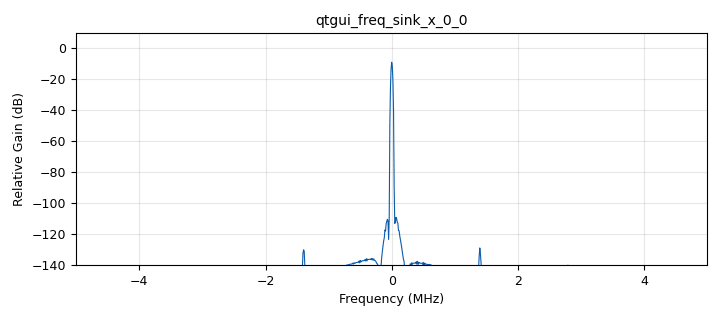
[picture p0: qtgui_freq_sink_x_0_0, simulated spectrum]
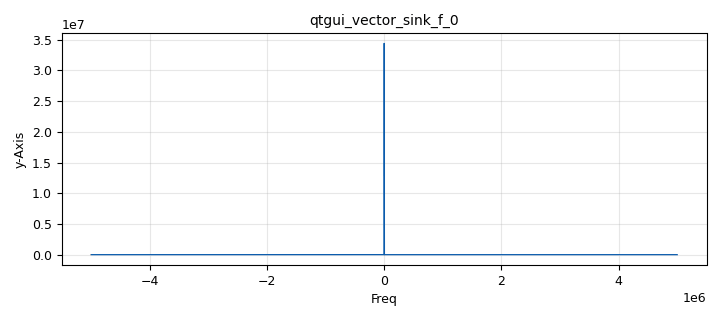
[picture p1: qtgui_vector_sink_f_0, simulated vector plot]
options:
  parameters:
    generate_options: qt_gui
    id: fmcw_sim
    output_language: python
    title: Not titled yet
  states: {}

blocks:
- name: alpha
  id: variable
  parameters:
    value: (max_freq-min_freq)/t_chirp
  states: {}
- name: c
  id: variable
  parameters:
    value: '300000000'
  states: {}
- name: delay_samples
  id: variable
  parameters:
    value: int(delay_time*samp_rate)
  states: {}
- name: delay_time
  id: variable
  parameters:
    value: 2*distance_m/c
  states: {}
- name: df
  id: variable
  parameters:
    value: samp_rate/k_bins
  states: {}
- name: distance_m
  id: variable
  parameters:
    value: '1000000'
  states: {}
- name: k_bins
  id: variable
  parameters:
    value: 2**14
  states: {}
- name: max_freq
  id: variable
  parameters:
    value: '200000'
  states: {}
- name: min_freq
  id: variable
  parameters:
    value: '10000'
  states: {}
- name: samp_rate
  id: variable
  parameters:
    value: '10000000'
  states: {}
- name: t_chirp
  id: variable
  parameters:
    value: '1'
  states: {}
- name: analog_sig_source_x_0
  id: analog_sig_source_x
  parameters:
    amp: '1'
    freq: 1/t_chirp
    offset: '0'
    phase: '0'
    samp_rate: samp_rate
    type: float
    waveform: analog.GR_SAW_WAVE
  states: {}
- name: analog_sig_source_x_1
  id: analog_sig_source_x
  parameters:
    amp: '1'
    freq: '10000'
    offset: '0'
    phase: '0'
    samp_rate: samp_rate
    type: complex
    waveform: analog.GR_COS_WAVE
  states: {state: disabled}
- name: blocks_add_const_vxx_0
  id: blocks_add_const_vxx
  parameters:
    const: min_freq
    type: float
  states: {}
- name: blocks_add_const_vxx_1
  id: blocks_add_const_vxx
  parameters:
    const: '-k_bins/2*df'
    type: float
  states: {}
- name: blocks_argmax_xx_1
  id: blocks_argmax_xx
  parameters:
    num_inputs: '1'
    type: float
    vlen: k_bins
  states: {}
- name: blocks_complex_to_mag_squared_0
  id: blocks_complex_to_mag_squared
  parameters:
    vlen: k_bins
  states: {}
- name: blocks_delay_0
  id: blocks_delay
  parameters:
    delay: delay_samples
    type: complex
  states: {}
- name: blocks_multiply_conjugate_cc_0
  id: blocks_multiply_conjugate_cc
  parameters: {}
  states: {}
- name: blocks_multiply_const_vxx_0
  id: blocks_multiply_const_vxx
  parameters:
    const: (max_freq-min_freq)
    type: float
  states: {}
- name: blocks_multiply_const_vxx_1
  id: blocks_multiply_const_vxx
  parameters:
    const: 1*df
    type: float
  states: {}
- name: blocks_multiply_const_vxx_1_0
  id: blocks_multiply_const_vxx
  parameters:
    const: c/2/alpha
    type: float
  states: {}
- name: blocks_null_sink_0
  id: blocks_null_sink
  parameters:
    type: short
  states: {}
- name: blocks_short_to_float_0
  id: blocks_short_to_float
  parameters:
    scale: '1'
  states: {}
- name: blocks_stream_to_vector_0_0
  id: blocks_stream_to_vector
  parameters:
    num_items: k_bins
    type: complex
  states: {}
- name: blocks_throttle2_0
  id: blocks_throttle2
  parameters:
    samples_per_second: samp_rate
    type: float
  states: {}
- name: blocks_vco_c_0
  id: blocks_vco_c
  parameters:
    amplitude: '1'
    samp_rate: samp_rate
    sensitivity: 2*np.pi
  states: {}
- name: fft_vxx_0_0
  id: fft_vxx
  parameters:
    fft_size: k_bins
    forward: 'True'
    shift: 'True'
    type: complex
    window: window.blackmanharris(k_bins)
  states: {}
- name: import_0
  id: import
  parameters:
    imports: import numpy as np
  states: {}
- name: qtgui_freq_sink_x_0
  id: qtgui_freq_sink_x
  parameters:
    bw: samp_rate
    ctrlpanel: 'True'
    fc: '0'
    fftsize: '1024'
    type: complex
  states: {state: disabled}
- name: qtgui_freq_sink_x_0_0
  id: qtgui_freq_sink_x
  parameters:
    bw: samp_rate
    fc: '0'
    fftsize: '1024'
    type: complex
  states: {}
- name: qtgui_number_sink_0
  id: qtgui_number_sink
  parameters:
    graph_type: qtgui.NUM_GRAPH_HORIZ
    max: samp_rate
    min: '0'
    name: '"beat frequency"'
    type: float
  states: {}
- name: qtgui_number_sink_0_0
  id: qtgui_number_sink
  parameters:
    graph_type: qtgui.NUM_GRAPH_HORIZ
    max: '10000000'
    min: '0'
    name: '"object distance"'
    type: float
  states: {}
- name: qtgui_time_sink_x_0
  id: qtgui_time_sink_x
  parameters:
    ctrlpanel: 'True'
    size: samp_rate*2
    srate: samp_rate
    type: complex
  states: {state: disabled}
- name: qtgui_time_sink_x_0_0
  id: qtgui_time_sink_x
  parameters:
    size: samp_rate
    srate: samp_rate
    type: complex
  states: {state: disabled}
- name: qtgui_time_sink_x_0_1
  id: qtgui_time_sink_x
  parameters:
    ctrlpanel: 'True'
    name: '"Desired Frequency"'
    size: samp_rate*2
    srate: samp_rate
    type: float
    ylabel: '"f"'
    ymin: '0'
    yunit: '"t"'
  states: {state: disabled}
- name: qtgui_vector_sink_f_0
  id: qtgui_vector_sink_f
  parameters:
    autoscale: 'True'
    grid: 'True'
    vlen: k_bins
    x_axis_label: '"Freq"'
    x_start: '-k_bins/2*df'
    x_step: 1*df
  states: {}
- name: virtual_sink_0
  id: virtual_sink
  parameters:
    stream_id: tx
  states: {}
- name: virtual_sink_0_0
  id: virtual_sink
  parameters:
    stream_id: beat_data
  states: {}
- name: virtual_source_0
  id: virtual_source
  parameters:
    stream_id: tx
  states: {}
- name: virtual_source_0_0
  id: virtual_source
  parameters:
    stream_id: beat_data
  states: {}

connections:
- [analog_sig_source_x_0, '0', blocks_throttle2_0, '0']
- [analog_sig_source_x_1, '0', blocks_stream_to_vector_0_0, '0']
- [blocks_add_const_vxx_0, '0', blocks_vco_c_0, '0']
- [blocks_add_const_vxx_1, '0', blocks_multiply_const_vxx_1_0, '0']
- [blocks_add_const_vxx_1, '0', qtgui_number_sink_0, '0']
- [blocks_argmax_xx_1, '0', virtual_sink_0_0, '0']
- [blocks_argmax_xx_1, '1', blocks_null_sink_0, '0']
- [blocks_complex_to_mag_squared_0, '0', blocks_argmax_xx_1, '0']
- [blocks_complex_to_mag_squared_0, '0', qtgui_vector_sink_f_0, '0']
- [blocks_delay_0, '0', blocks_multiply_conjugate_cc_0, '1']
- [blocks_multiply_conjugate_cc_0, '0', blocks_stream_to_vector_0_0, '0']
- [blocks_multiply_conjugate_cc_0, '0', qtgui_freq_sink_x_0_0, '0']
- [blocks_multiply_conjugate_cc_0, '0', qtgui_time_sink_x_0_0, '0']
- [blocks_multiply_const_vxx_0, '0', blocks_add_const_vxx_0, '0']
- [blocks_multiply_const_vxx_1, '0', blocks_add_const_vxx_1, '0']
- [blocks_multiply_const_vxx_1_0, '0', qtgui_number_sink_0_0, '0']
- [blocks_short_to_float_0, '0', blocks_multiply_const_vxx_1, '0']
- [blocks_stream_to_vector_0_0, '0', fft_vxx_0_0, '0']
- [blocks_throttle2_0, '0', blocks_multiply_const_vxx_0, '0']
- [blocks_throttle2_0, '0', qtgui_time_sink_x_0_1, '0']
- [blocks_vco_c_0, '0', qtgui_freq_sink_x_0, '0']
- [blocks_vco_c_0, '0', qtgui_time_sink_x_0, '0']
- [blocks_vco_c_0, '0', virtual_sink_0, '0']
- [fft_vxx_0_0, '0', blocks_complex_to_mag_squared_0, '0']
- [virtual_source_0, '0', blocks_delay_0, '0']
- [virtual_source_0, '0', blocks_multiply_conjugate_cc_0, '0']
- [virtual_source_0_0, '0', blocks_short_to_float_0, '0']

metadata:
  file_format: 1
  grc_version: 3.10.10.0
